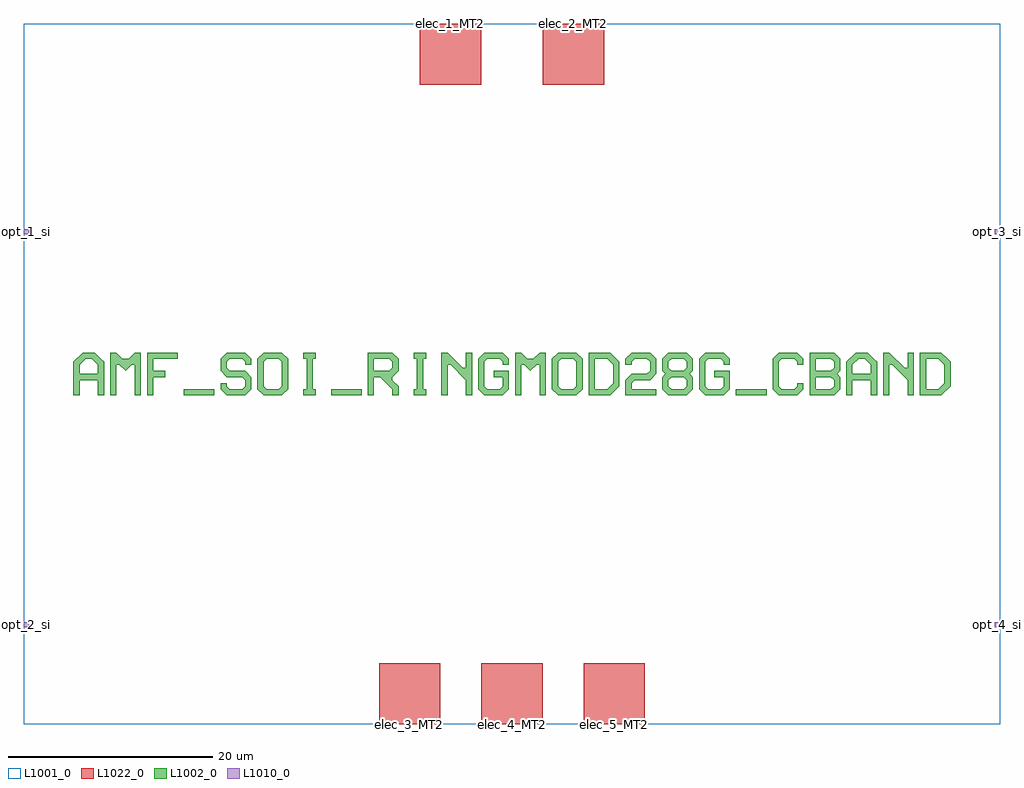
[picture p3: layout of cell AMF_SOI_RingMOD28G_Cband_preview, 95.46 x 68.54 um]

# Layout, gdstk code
import gdstk
lib = gdstk.Library(unit=1e-6, precision=1e-09)
def R(c, l, rs):  # rectangles x0, y0, x1, y1
    for r in rs: c.add(gdstk.rectangle(r[:2], r[2:], *l))
def A(c, l, x, y, w, h, nx, ny, dx, dy):  # array of equal rectangles
    R(c, l, [(x+i*dx, y+j*dy, x+i*dx+w, y+j*dy+h) for i in range(nx) for j in range(ny)])
def P(c, l, *ps):  # polygons
    for p in ps: c.add(gdstk.Polygon(p, *l))
L1001_0 = (1001, 0)
L1002_0 = (1002, 0)
L1010_0 = (1010, 0)
L1022_0 = (1022, 0)

amf_soi_ringmod28g_cband = lib.new_cell('AMF_SOI_RingMOD28G_Cband_preview')
R(amf_soi_ringmod28g_cband, L1001_0, [(0,-28.959,95.461,39.585)])
P(amf_soi_ringmod28g_cband, L1001_0, [(35.659,-28.775),(35.659,-28.775),(35.659,-28.775),(35.659,-28.775)])
R(amf_soi_ringmod28g_cband, L1002_0, [(15.631,3.213,18.631,3.813), (30.031,3.213,33.031,3.813), (69.631,3.213,72.631,3.813)])
P(amf_soi_ringmod28g_cband, L1002_0, [(4.831,3.213),(4.831,6.513),(5.731,7.413),(6.931,7.413),(7.531,6.813),(6.031,6.813),(5.431,6.213),(5.431,5.313),(7.231,5.313),(7.231,6.213),(6.631,6.813),(7.531,6.813),(7.831,6.513),(7.831,3.213),(7.231,3.213),(7.231,4.713),(5.431,4.713),(5.431,3.213)],
  [(8.431,3.213),(8.431,7.413),(9.031,7.413),(9.631,6.813),(10.231,6.813),(10.831,7.413),(11.431,7.413),(11.431,3.213),(10.831,3.213),(10.831,6.213),(10.531,6.213),(9.931,5.613),(9.331,6.213),(9.031,6.213),(9.031,3.213)],
  [(12.031,3.213),(12.031,7.413),(15.031,7.413),(15.031,6.813),(12.631,6.813),(12.631,5.613),(13.831,5.613),(13.831,5.013),(12.631,5.013),(12.631,3.213)],
  [(19.831,3.213),(19.231,3.813),(19.231,4.413),(19.831,4.413),(19.831,4.113),(20.131,3.813),(21.331,3.813),(21.631,4.113),(21.631,4.713),(21.331,5.013),(19.831,5.013),(19.231,5.613),(19.231,6.813),(19.831,7.413),(21.631,7.413),(22.231,6.813),(22.231,6.213),(21.631,6.213),(21.631,6.513),(21.331,6.813),(20.131,6.813),(19.831,6.513),(19.831,5.913),(20.131,5.613),(21.631,5.613),(22.231,5.013),(22.231,3.813),(21.631,3.213)],
  [(23.431,3.213),(22.831,3.813),(22.831,6.813),(23.431,7.413),(25.231,7.413),(25.831,6.813),(25.831,5.313),(25.231,5.313),(25.231,6.513),(24.931,6.813),(23.731,6.813),(23.431,6.513),(23.431,4.113),(23.731,3.813),(24.931,3.813),(25.231,4.113),(25.231,5.313),(25.831,5.313),(25.831,3.813),(25.231,3.213)],
  [(27.331,3.213),(27.331,3.813),(27.631,3.813),(27.631,6.813),(27.331,6.813),(27.331,7.413),(28.531,7.413),(28.531,6.813),(28.231,6.813),(28.231,3.813),(28.531,3.813),(28.531,3.213)],
  [(33.631,3.213),(33.631,7.413),(36.031,7.413),(36.631,6.813),(34.231,6.813),(34.231,5.613),(35.731,5.613),(36.031,5.913),(36.031,6.513),(35.731,6.813),(36.631,6.813),(36.631,5.613),(36.031,5.013),(36.031,4.713),(36.631,4.113),(36.631,3.213),(36.031,3.213),(36.031,3.813),(34.831,5.013),(34.231,5.013),(34.231,3.213)],
  [(38.131,3.213),(38.131,3.813),(38.431,3.813),(38.431,6.813),(38.131,6.813),(38.131,7.413),(39.331,7.413),(39.331,6.813),(39.031,6.813),(39.031,3.813),(39.331,3.813),(39.331,3.213)],
  [(40.831,3.213),(40.831,7.413),(41.431,7.413),(42.931,5.913),(43.231,5.913),(43.231,7.413),(43.831,7.413),(43.831,3.213),(43.231,3.213),(43.231,4.713),(41.731,6.213),(41.431,6.213),(41.431,3.213)],
  [(45.031,3.213),(44.431,3.813),(44.431,6.813),(45.031,7.413),(46.831,7.413),(47.431,6.813),(47.431,6.213),(46.831,6.213),(46.831,6.513),(46.531,6.813),(45.331,6.813),(45.031,6.513),(45.031,4.113),(45.331,3.813),(46.531,3.813),(46.831,4.113),(46.831,5.013),(45.931,5.013),(45.931,5.613),(47.431,5.613),(47.431,3.813),(46.831,3.213)],
  [(48.031,3.213),(48.031,7.413),(48.631,7.413),(49.231,6.813),(49.831,6.813),(50.431,7.413),(51.031,7.413),(51.031,3.213),(50.431,3.213),(50.431,6.213),(50.131,6.213),(49.531,5.613),(48.931,6.213),(48.631,6.213),(48.631,3.213)],
  [(52.231,3.213),(51.631,3.813),(51.631,6.813),(52.231,7.413),(54.031,7.413),(54.631,6.813),(54.631,5.313),(54.031,5.313),(54.031,6.513),(53.731,6.813),(52.531,6.813),(52.231,6.513),(52.231,4.113),(52.531,3.813),(53.731,3.813),(54.031,4.113),(54.031,5.313),(54.631,5.313),(54.631,3.813),(54.031,3.213)],
  [(55.231,3.213),(55.231,7.413),(57.331,7.413),(57.931,6.813),(55.831,6.813),(55.831,3.813),(57.031,3.813),(57.631,4.413),(57.631,6.213),(57.031,6.813),(57.931,6.813),(58.231,6.513),(58.231,4.113),(57.331,3.213)],
  [(58.831,3.213),(58.831,4.713),(59.431,5.313),(60.931,5.313),(61.231,5.613),(61.231,6.513),(60.931,6.813),(59.731,6.813),(59.431,6.513),(59.431,6.213),(58.831,6.213),(58.831,6.813),(59.431,7.413),(61.231,7.413),(61.831,6.813),(61.831,5.313),(61.231,4.713),(59.731,4.713),(59.431,4.413),(59.431,3.813),(61.831,3.813),(61.831,3.213)],
  [(63.031,3.213),(62.431,3.813),(62.431,5.013),(62.731,5.313),(62.431,5.613),(62.431,6.813),(63.031,7.413),(64.831,7.413),(65.431,6.813),(63.331,6.813),(63.031,6.513),(63.031,5.913),(63.331,5.613),(64.531,5.613),(64.831,5.913),(64.831,6.513),(64.531,6.813),(65.431,6.813),(65.431,5.613),(65.131,5.313),(65.431,5.013),(63.331,5.013),(63.031,4.713),(63.031,4.113),(63.331,3.813),(64.531,3.813),(64.831,4.113),(64.831,4.713),(64.531,5.013),(65.431,5.013),(65.431,3.813),(64.831,3.213)],
  [(66.631,3.213),(66.031,3.813),(66.031,6.813),(66.631,7.413),(68.431,7.413),(69.031,6.813),(69.031,6.213),(68.431,6.213),(68.431,6.513),(68.131,6.813),(66.931,6.813),(66.631,6.513),(66.631,4.113),(66.931,3.813),(68.131,3.813),(68.431,4.113),(68.431,5.013),(67.531,5.013),(67.531,5.613),(69.031,5.613),(69.031,3.813),(68.431,3.213)],
  [(73.831,3.213),(73.231,3.813),(73.231,6.813),(73.831,7.413),(75.631,7.413),(76.231,6.813),(76.231,6.213),(75.631,6.213),(75.631,6.513),(75.331,6.813),(74.131,6.813),(73.831,6.513),(73.831,4.113),(74.131,3.813),(75.331,3.813),(75.631,4.113),(75.631,4.413),(76.231,4.413),(76.231,3.813),(75.631,3.213)],
  [(76.831,3.213),(76.831,7.413),(79.231,7.413),(79.831,6.813),(77.431,6.813),(77.431,5.613),(78.931,5.613),(79.231,5.913),(79.231,6.513),(78.931,6.813),(79.831,6.813),(79.831,5.613),(79.531,5.313),(79.831,5.013),(77.431,5.013),(77.431,3.813),(78.931,3.813),(79.231,4.113),(79.231,4.713),(78.931,5.013),(79.831,5.013),(79.831,3.813),(79.231,3.213)],
  [(80.431,3.213),(80.431,6.513),(81.331,7.413),(82.531,7.413),(83.131,6.813),(81.631,6.813),(81.031,6.213),(81.031,5.313),(82.831,5.313),(82.831,6.213),(82.231,6.813),(83.131,6.813),(83.431,6.513),(83.431,3.213),(82.831,3.213),(82.831,4.713),(81.031,4.713),(81.031,3.213)],
  [(84.031,3.213),(84.031,7.413),(84.631,7.413),(86.131,5.913),(86.431,5.913),(86.431,7.413),(87.031,7.413),(87.031,3.213),(86.431,3.213),(86.431,4.713),(84.931,6.213),(84.631,6.213),(84.631,3.213)],
  [(87.631,3.213),(87.631,7.413),(89.731,7.413),(90.331,6.813),(88.231,6.813),(88.231,3.813),(89.431,3.813),(90.031,4.413),(90.031,6.213),(89.431,6.813),(90.331,6.813),(90.631,6.513),(90.631,4.113),(89.731,3.213)])
R(amf_soi_ringmod28g_cband, L1010_0, [(0,-19.48,0.5,-18.98), (94.961,-19.48,95.461,-18.98), (0,18.98,0.5,19.48), (94.961,18.98,95.461,19.48)])
A(amf_soi_ringmod28g_cband, L1022_0, 34.731, -28.959, 6, 6, 3, 1, 10, 0)
R(amf_soi_ringmod28g_cband, L1022_0, [(38.731,33.585,44.731,39.585), (50.731,33.585,56.731,39.585)])
amf_soi_ringmod28g_cband.add(gdstk.Label('opt_1_si', (0,19.23), layer=1010, texttype=0))
amf_soi_ringmod28g_cband.add(gdstk.Label('opt_3_si', (95.461,19.23), layer=1010, texttype=0))
amf_soi_ringmod28g_cband.add(gdstk.Label('opt_2_si', (0,-19.23), layer=1010, texttype=0))
amf_soi_ringmod28g_cband.add(gdstk.Label('opt_4_si', (95.461,-19.23), layer=1010, texttype=0))
amf_soi_ringmod28g_cband.add(gdstk.Label('elec_1_MT2', (41.731,39.585), layer=1022, texttype=0))
amf_soi_ringmod28g_cband.add(gdstk.Label('elec_2_MT2', (53.731,39.585), layer=1022, texttype=0))
amf_soi_ringmod28g_cband.add(gdstk.Label('elec_3_MT2', (37.731,-28.959), layer=1022, texttype=0))
amf_soi_ringmod28g_cband.add(gdstk.Label('elec_4_MT2', (47.731,-28.959), layer=1022, texttype=0))
amf_soi_ringmod28g_cband.add(gdstk.Label('elec_5_MT2', (57.731,-28.959), layer=1022, texttype=0))

lib.write_gds('AMF_SOI_RingMOD28G_Cband_preview.gds')
